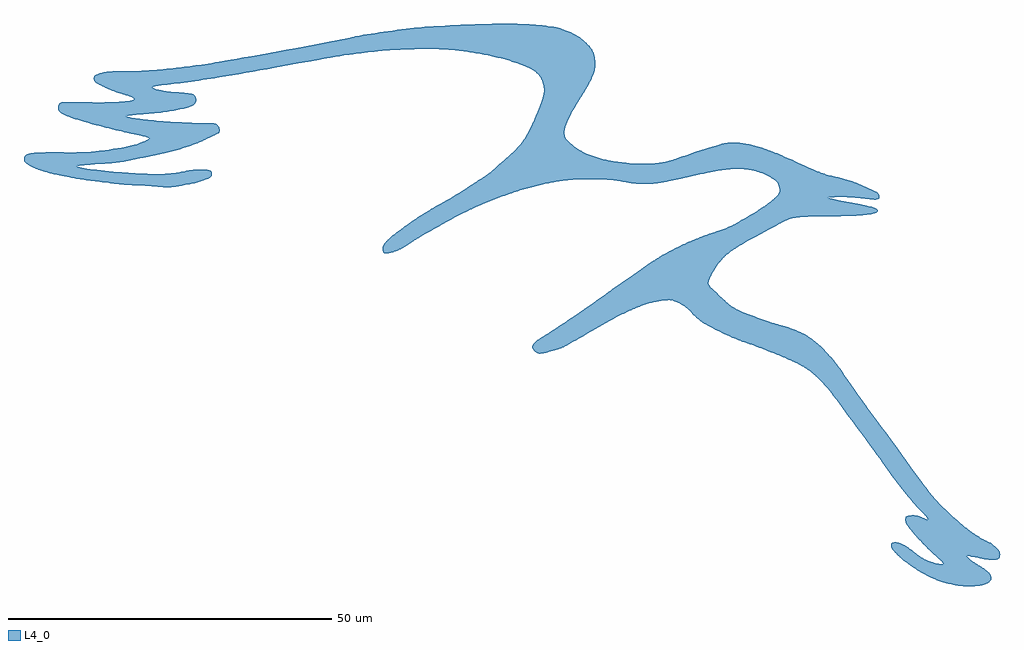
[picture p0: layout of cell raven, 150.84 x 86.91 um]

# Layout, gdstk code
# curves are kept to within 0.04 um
import gdstk
lib = gdstk.Library(unit=1e-6, precision=1e-09)
def P(c, l, *ps):  # polygons
    for p in ps: c.add(gdstk.Polygon(p, *l))
L4_0 = (4, 0)

raven = lib.new_cell('raven')
P(raven, L4_0, [(15.084,62.1),(8.367,62.948),(6.184,63.36),(3.765,63.908),(2.091,64.443),(0.79,65.059),(0.349,65.367),(0.081,65.656),(0.006,65.859),(0.03,66.174),(0.186,66.489),(0.411,66.674),(0.865,66.841),(1.448,66.938),(3.356,67.034),(7.736,67.022),(10.117,67.099),(11.927,67.301),(15.084,67.798),(15.084,65.572),(13.534,65.396),(9.567,65.113),(8.402,64.976),(8.132,64.893),(8.638,64.718),(10.21,64.465),(15.084,63.949)],
  [(15.084,70.275),(9.911,71.594),(8.121,72.13),(6.655,72.662),(5.934,73.015),(5.469,73.39),(5.287,73.87),(5.362,74.365),(5.676,74.716),(6.188,74.818),(12.015,74.752),(15.084,74.864)],
  [(15.084,76.09),(13.087,76.817),(11.342,77.701),(11.018,77.944),(10.868,78.174),(10.811,78.547),(10.905,78.823),(11.056,78.978),(11.392,79.133),(12.553,79.446),(13.507,79.538),(15.084,79.578)],
  [(22.15,61.66),(15.084,62.1),(15.084,63.949),(18.139,63.744),(21.288,63.686),(23.036,63.813),(26.323,64.339),(27.776,64.377),(28.663,64.256),(28.837,64.17),(28.984,63.98),(29.051,63.769),(29.026,63.555),(28.729,63.169),(28.137,62.865),(27.087,62.502),(25.876,62.195),(23.47,61.767)],
  [(15.084,65.572),(15.084,67.798),(17.175,68.23),(18.802,68.844),(19.42,69.181),(19.308,69.296),(18.797,69.463),(15.084,70.275),(15.084,74.864),(16.641,75.041),(16.936,75.147),(17.027,75.284),(16.896,75.469),(16.528,75.665),(15.084,76.09),(15.084,79.578),(18.22,79.636),(21.521,79.889),(25.661,80.355),(30.168,81.041),(30.168,78.635),(25.277,77.904),(20.407,77.312),(19.823,77.139),(19.889,77.009),(20.229,76.861),(21.739,76.517),(22.88,76.357),(25.009,76.209),(26.12,76.034),(26.441,75.706),(26.608,75.115),(26.454,74.647),(26.065,74.309),(25.64,74.105),(24.949,73.893),(22.783,73.44),(20.777,73.169),(16.749,72.805),(15.75,72.636),(16.06,72.512),(16.897,72.357),(20.022,72),(24.669,71.646),(29.431,71.499),(29.827,71.311),(30.117,70.955),(30.168,70.835),(30.168,70.15),(30.096,70.056),(27.318,68.696),(25.796,68.101),(24.137,67.558),(20.976,66.745)],
  [(30.168,70.15),(30.168,70.835),(30.218,70.649),(30.232,70.556),(30.236,70.465),(30.233,70.378),(30.22,70.295),(30.199,70.219)],
  [(30.168,78.635),(30.168,81.041),(45.252,83.786),(45.252,81.312),(35.35,79.509)],
  [(56,51.449),(55.739,51.469),(55.587,51.546),(55.436,52.072),(55.545,52.627),(55.908,53.186),(56.5,53.783),(57.378,54.506),(60.336,56.627),(60.336,53.433),(59.099,52.59),(58.069,52.043),(56.932,51.611)],
  [(45.252,81.312),(45.252,83.786),(53.026,85.285),(57.018,85.879),(60.336,86.281),(60.336,83.015),(56.916,82.875),(54.392,82.664),(49.889,82.105)],
  [(60.336,53.433),(60.336,56.627),(62.398,57.963),(67.639,61.03),(71.287,63.372),(72.448,64.291),(75.42,66.899),(75.42,60.766),(71.976,59.509),(68.916,58.164),(64.648,55.935)],
  [(75.42,81.088),(73.78,81.56),(71.718,82.045),(67.93,82.688),(64.6,83.001),(60.336,83.015),(60.336,86.281),(62.418,86.464),(68.256,86.764),(72.35,86.893),(75.42,86.908)],
  [(79.7,35.956),(79.411,36.01),(79.09,36.207),(78.752,36.556),(78.596,36.848),(78.576,37.021),(78.656,37.251),(79.135,37.805),(79.794,38.311),(81.734,39.519),(85.043,41.747),(90.504,45.589),(90.504,41.009),(83.5,37.017),(82.581,36.647),(81.389,36.273),(80.419,36.043)],
  [(75.42,60.766),(75.42,66.899),(76.193,67.656),(76.866,68.447),(77.479,69.342),(78.075,70.409),(78.96,72.327),(79.932,74.737),(80.287,75.865),(80.39,76.633),(80.318,77.329),(80.07,78.137),(79.706,78.816),(79.283,79.294),(78.719,79.719),(77.984,80.119),(76.833,80.6),(75.42,81.088),(75.42,86.908),(79.452,86.73),(81.697,86.466),(82.714,86.256),(84.07,85.761),(85.045,85.322),(85.715,84.92),(86.524,84.282),(87.324,83.502),(87.844,82.799),(88.115,82.158),(88.255,81.307),(88.247,80.029),(88.042,79.197),(87.171,77.412),(84.915,73.657),(84.025,71.956),(83.719,71.186),(83.55,70.536),(83.514,69.921),(83.611,69.454),(83.848,69.022),(84.44,68.44),(85.402,67.702),(86.416,67.075),(88.257,66.333),(90.504,65.768),(90.504,62.807),(88.554,62.907),(86.574,62.917),(84.81,62.842),(83.241,62.673),(81.633,62.406),(79.638,61.974),(77.553,61.423)],
  [(105.588,40.335),(104.907,40.752),(104.152,41.326),(103.541,41.878),(102.735,42.743),(101.934,43.365),(100.841,43.942),(100.251,44.153),(99.806,44.232),(97.899,44.03),(95.88,43.484),(93.547,42.546),(90.504,41.009),(90.504,45.589),(97.449,50.391),(98.746,51.194),(100.517,52.148),(102.176,52.944),(105.588,54.335)],
  [(95.879,62.168),(94.022,62.279),(91.988,62.646),(90.504,62.807),(90.504,65.768),(92.381,65.483),(94.724,65.28),(96.365,65.258),(98.044,65.389),(99.146,65.581),(100.205,65.856),(105.588,67.673),(105.588,63.894),(98.892,62.438),(97.266,62.226)],
  [(120.672,33.779),(118.992,34.651),(116.396,35.792),(109.436,38.434),(107.586,39.289),(105.588,40.335),(105.588,54.335),(107.855,55.092),(108.948,55.532),(110.637,56.413),(112.757,57.654),(114.665,58.897),(115.853,59.81),(116.564,60.54),(116.739,60.848),(116.808,61.161),(116.739,61.568),(116.503,62.251),(116.342,62.52),(116.107,62.739),(115.421,63.172),(114.462,63.665),(112.845,64.224),(111.305,64.465),(109.378,64.476),(107.868,64.317),(105.588,63.894),(105.588,67.673),(107.458,68.251),(108.566,68.486),(110.129,68.537),(111.584,68.375),(113.487,67.921),(115.357,67.286),(117.508,66.407),(120.672,64.958),(120.672,57.091),(118.76,56.896),(117.845,56.588),(112.455,53.692),(109.718,52.063),(108.45,51.084),(107.411,49.965),(106.834,49.126),(106.245,48.109),(105.888,47.332),(105.761,46.82),(105.808,46.617),(105.956,46.4),(106.957,45.402),(108.853,43.671),(109.969,42.855),(111.508,42.193),(113.784,41.354),(118.65,39.806),(119.842,39.321),(120.672,38.9)],
  [(135.756,4.154),(134.884,4.948),(134.181,5.763),(134.035,6.249),(134.067,6.538),(134.166,6.666),(134.498,6.761),(134.889,6.75),(135.756,6.466)],
  [(135.756,14.969),(134.435,16.66),(129.158,23.971),(124.492,30.225),(123.696,31.156),(122.616,32.258),(121.526,33.197),(120.672,33.779),(120.672,38.9),(121.73,38.211),(122.889,37.268),(124.009,36.173),(125.127,34.884),(126.282,33.362),(130.331,27.606),(135.756,20.239)],
  [(120.672,57.091),(120.672,64.958),(122.553,64.141),(123.743,63.704),(126.856,62.93),(128.946,62.179),(131.591,60.987),(131.968,60.717),(132.171,60.342),(132.188,60.096),(132.112,59.937),(131.919,59.813),(131.615,59.759),(126.885,60.164),(125.519,60.159),(124.293,60.027),(125.538,59.71),(129.578,58.952),(131.194,58.538),(131.734,58.3),(131.945,58.044),(131.746,57.775),(131.415,57.632),(130.024,57.398),(128.075,57.26)],
  [(146.059,0.001),(144.887,0.042),(143.895,0.167),(142.027,0.633),(140.614,1.123),(139.477,1.665),(138.066,2.486),(136.721,3.4),(135.756,4.154),(135.756,6.466),(136.714,5.909),(138.345,4.663),(139.237,4.124),(140.001,3.805),(140.852,3.562),(141.885,3.356),(142.054,3.362),(142.115,3.422),(141.812,3.83),(139.673,5.813),(138.002,7.56),(136.73,9.099),(136.304,9.773),(136.231,10.147),(136.273,10.648),(136.397,10.776),(136.791,10.878),(137.395,10.932),(137.935,10.887),(138.546,10.719),(139.531,10.299),(139.688,10.282),(139.72,10.335),(139.429,10.76),(137.103,13.29),(135.756,14.969),(135.756,20.239),(139.76,14.757),(140.831,13.453),(142.016,12.197),(143.829,10.489),(145.418,9.139),(147.308,7.783),(149.452,6.635),(150.422,5.758),(150.767,5.309),(150.84,4.866),(150.753,4.445),(150.531,4.209),(150.084,4.077),(149.574,4.055),(148.846,4.125),(146.785,4.525),(145.605,4.687),(146.342,4.013),(147.917,3.013),(148.938,2.248),(149.362,1.76),(149.488,1.265),(149.463,1.026),(149.289,0.773),(148.989,0.527),(148.499,0.293),(147.571,0.079)])

lib.write_gds('raven.gds')
